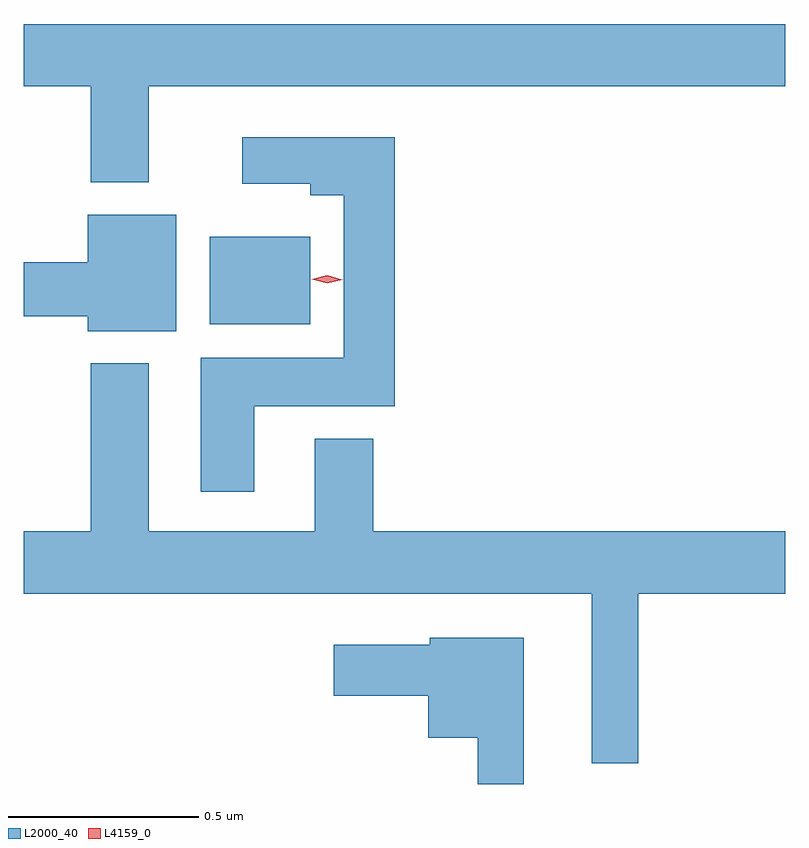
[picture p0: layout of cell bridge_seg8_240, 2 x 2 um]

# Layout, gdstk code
import gdstk
lib = gdstk.Library(unit=1e-6, precision=1e-09)
def R(c, l, rs):  # rectangles x0, y0, x1, y1
    for r in rs: c.add(gdstk.rectangle(r[:2], r[2:], *l))
def P(c, l, *ps):  # polygons
    for p in ps: c.add(gdstk.Polygon(p, *l))
L2000_40 = (2000, 40)
L4159_0 = (4159, 0)

bridge_seg8_240 = lib.new_cell('bridge_seg8_240')
R(bridge_seg8_240, L2000_40, [(287.999,1125.2,288.262,1125.43)])
P(bridge_seg8_240, L2000_40, [(287.839,1125.824),(289.51,1125.824),(289.51,1125.988),(287.51,1125.988),(287.51,1125.824),(287.687,1125.824),(287.687,1125.572),(287.839,1125.572)],
  [(288.115,1124.984),(288.485,1124.984),(288.485,1125.691),(288.084,1125.691),(288.084,1125.569),(288.263,1125.569),(288.263,1125.539),(288.35,1125.539),(288.35,1125.112),(287.975,1125.112),(287.975,1124.76),(288.115,1124.76)],
  [(287.911,1125.487),(287.678,1125.487),(287.678,1125.363),(287.51,1125.363),(287.51,1125.221),(287.678,1125.221),(287.678,1125.182),(287.911,1125.182)],
  [(289.001,1124.048),(289.123,1124.048),(289.123,1124.492),(289.51,1124.492),(289.51,1124.656),(288.428,1124.656),(288.428,1124.899),(288.275,1124.899),(288.275,1124.656),(287.839,1124.656),(287.839,1125.097),(287.687,1125.097),(287.687,1124.656),(287.51,1124.656),(287.51,1124.492),(289.001,1124.492)],
  [(288.823,1124.377),(288.576,1124.377),(288.576,1124.359),(288.324,1124.359),(288.324,1124.225),(288.572,1124.225),(288.572,1124.114),(288.702,1124.114),(288.702,1123.993),(288.823,1123.993)])
P(bridge_seg8_240, L4159_0, [(288.307,1125.308),(288.266,1125.318),(288.266,1125.318),(288.266,1125.318),(288.307,1125.328),(288.347,1125.317),(288.348,1125.317),(288.347,1125.317)])

lib.write_gds('bridge_seg8_240.gds')
